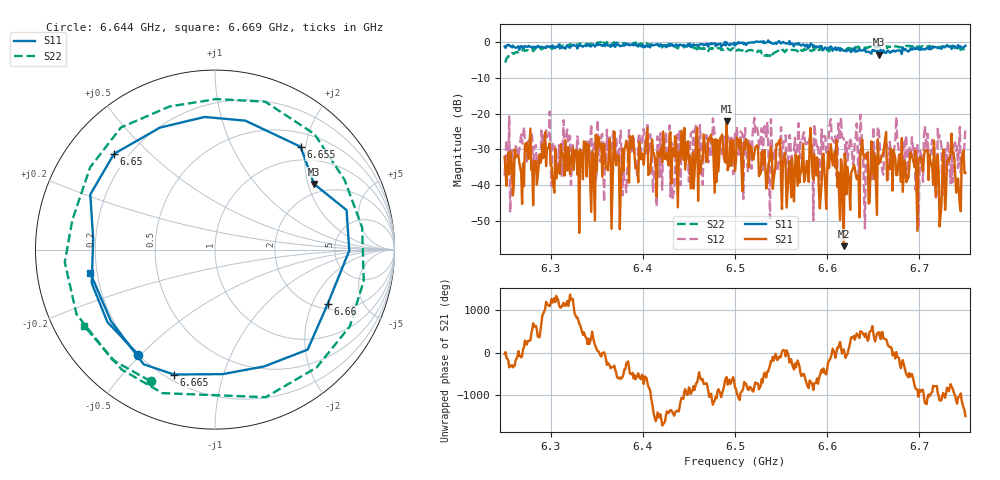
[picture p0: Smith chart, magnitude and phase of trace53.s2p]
# Hz S RI R 50
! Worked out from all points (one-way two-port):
!   401 points, 6.25 GHz to 6.75 GHz, reference 50 ohm
!   highest |S21| = -22.20 dB at 6.491 GHz (marker M1); lowest = -56.9 dB at 6.618 GHz (marker M2)
!   lowest |S11| = -3.6 dB at 6.656 GHz (marker M3), VSWR 4.92, Z = 83.9 + j109 ohm
!   |S11| at or under -10 dB: nowhere
!   |S22| runs from -5.6 to -0.1 dB; largest |S21 - S12| = 0.13
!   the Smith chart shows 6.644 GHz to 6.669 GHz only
!   S11 on the Smith chart (normalised r, x): 6.644 GHz: 0.20, -0.49; 6.65 GHz: 0.15, +0.39; 6.655 GHz: 0.74, +1.90; 6.66 GHz: 2.23, -2.63; 6.665 GHz: 0.23, -0.70; 6.669 GHz: 0.17, -0.09
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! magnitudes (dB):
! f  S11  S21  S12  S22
! 6.25 GHz  -1.4  -32.1  -37.3  -5.6
! 6.296 GHz  -1.2  -29.7  -26.6  -1.7
! 6.334 GHz  -1.3  -31.4  -31.7  -0.8
! 6.418 GHz  -1.3  -31.9  -37.7  -0.9
! 6.491 GHz  -0.2  -22.2  -25.0  -2.1
! 6.5 GHz  -1.1  -36.0  -25.6  -2.2
! 6.546 GHz  -0.2  -28.8  -36.1  -2.6
! 6.559 GHz  0.2  -33.3  -26.0  -2.4
! 6.584 GHz  -0.9  -36.5  -29.4  -2.5
! 6.618 GHz  -2.6  -56.9  -27.0  -1.8
! 6.644 GHz  -2.8  -30.8  -31.6  -1.8
! 6.65 GHz  -2.2  -30.4  -23.7  -1.6
! 6.655 GHz  -2.6  -27.2  -23.7  -1.2
! 6.656 GHz  -3.6  -34.0  -24.5  -1.4
! 6.66 GHz  -3.1  -31.5  -36.1  -1.4
! 6.665 GHz  -2.7  -38.6  -28.7  -1.8
! 6.668 GHz  -3.1  -35.5  -27.9  -1.4
! 6.669 GHz  -3.0  -29.8  -30.1  -1.5
! 6.701 GHz  -1.5  -32.1  -30.3  -1.6
! 6.708 GHz  -1.8  -30.5  -30.3  -1.3
! 6.728 GHz  -1.5  -46.8  -29.9  -1.5
! 6.75 GHz  -1.2  -36.5  -24.0  -2.1
